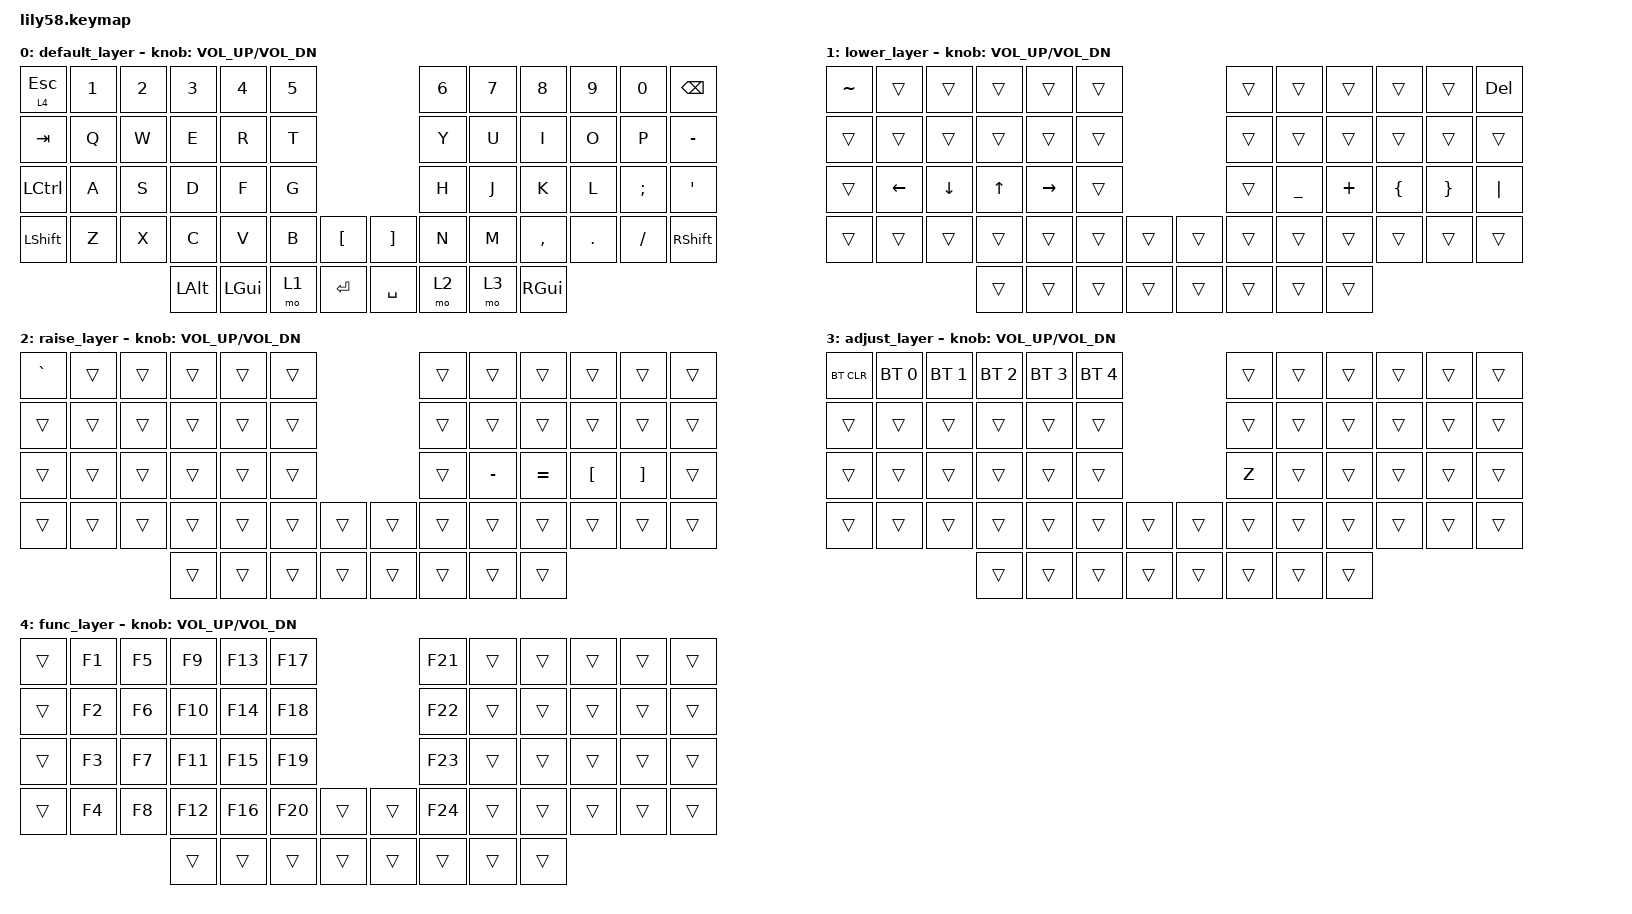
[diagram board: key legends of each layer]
/*
 * Copyright (c) 2020 The ZMK Contributors
 *
 * SPDX-License-Identifier: MIT
 */

#include <behaviors.dtsi>
#include <dt-bindings/zmk/keys.h>
#include <dt-bindings/zmk/bt.h>
#include <dt-bindings/zmk/ext_power.h>


/ {
	keymap {
		compatible = "zmk,keymap";

		default_layer {
// ------------------------------------------------------------------------------------------------------------
// |  ESC  |  1  |  2  |  3   |  4   |  5   |                   |  6   |  7    |  8    |  9   |   0   |  BSPC |
// |  TAB  |  Q  |  W  |  E   |  R   |  T   |                   |  Y   |  U    |  I    |  O   |   P   |   -   |
// |  CTRL |  A  |  S  |  D   |  F   |  G   |                   |  H   |  J    |  K    |  L   |   ;   |   '   |
// | SHIFT |  Z  |  X  |  C   |  V   |  B   |   "["  |  |  "]"  |  N   |  M    |  ,    |  .   |   /   | SHIFT |
//                     | ALT  | GUI  | LOWER|  SPACE |  | ENTER | RAISE|  ADJ  | GUI   |
			bindings = <
&lt 4 ESC &kp N1 &kp N2 &kp N3   &kp N4   &kp N5                     &kp N6 &kp N7   &kp N8    &kp N9  &kp N0   &kp BSPC
&kp TAB   &kp Q  &kp W  &kp E    &kp R    &kp T                      &kp Y  &kp U    &kp I     &kp O   &kp P    &kp MINUS
&kp LCTRL &kp A  &kp S  &kp D    &kp F    &kp G                      &kp H  &kp J    &kp K     &kp L   &kp SEMI &kp SQT
&kp LSHFT &kp Z  &kp X  &kp C    &kp V    &kp B  &kp LBKT   &kp RBKT &kp N  &kp M    &kp COMMA &kp DOT &kp FSLH &kp RSHFT
                        &kp LALT &kp LGUI &mo 1  &kp RET  &kp SPACE  &mo 2  &mo 3    &kp RGUI
			>;

			sensor-bindings = <&inc_dec_kp C_VOL_UP C_VOL_DN>;
		};

		lower_layer {
// ------------------------------------------------------------------------------------------------------------
// | BTCLR | BT1 | BT2 |  BT3 |  BT4 |  BT5 |                   |      |       |       |      |       |       |
// |  F1   |  F2 |  F3 |  F4  |  F5  |  F6  |                   |  F7  |  F8   |  F9   |  F10 |  F11  |  F12  |
// |   `   |  !  |  @  |  #   |  $   |  %   |                   |  ^   |  &    |  *    |  (   |   )   |   ~   |
// |       |     |     |      |      |      |        |  |       |      |  _    |  +    |  {   |   }   |  "|"  |
//                     |      |      |      |        |  |       |      |       |       |
			bindings = <
&kp TILDE &trans   &trans   &trans  &trans  &trans                       &trans      &trans    &trans    &trans   &trans    &kp DEL	
&trans    &trans   &trans   &trans  &trans  &trans                       &trans      &trans    &trans    &trans   &trans    &trans
&trans    &kp LEFT &kp DOWN &kp UP  &kp RIGHT  &trans                    &trans      &kp UNDER &kp PLUS  &kp LBRC &kp RBRC  &kp PIPE 
&trans    &trans   &trans   &trans  &trans  &trans    &trans    &trans   &trans      &trans    &trans    &trans   &trans    &trans
                        &trans  &trans  &trans    &trans    &trans   &trans    &trans      &trans   
			>;

			sensor-bindings = <&inc_dec_kp C_VOL_UP C_VOL_DN>;
		};

		raise_layer {
// ------------------------------------------------------------------------------------------------------------
// |       |     |     |      |      |      |                   |      |       |       |      |       |       |
// |   `   |  1  |  2  |  3   |  4   |  5   |                   |  6   |   7   |   8   |  9   |   0   |       |
// |   F1  |  F2 |  F3 |  F4  |  F5  |  F6  |                   |      |   <-  |   ^   |  v   |  ->   |       |
// |   F7  |  F8 |  F9 |  F10 |  F11 |  F12 |        |  |       |  +   |   -   |   =   |  [   |   ]   |   \   |
//                     |      |      |      |        |  |       |      |       |       |
			bindings = <
&kp GRAVE &trans &trans &trans  &trans  &trans                       &trans      &trans    &trans    &trans   &trans    &trans
&trans    &trans &trans &trans  &trans  &trans                       &trans      &trans    &trans    &trans   &trans    &trans
&trans    &trans &trans &trans  &trans  &trans                       &trans      &kp MINUS &kp EQUAL &kp LBKT &kp RBKT  &trans
&trans    &trans &trans &trans  &trans  &trans    &trans    &trans   &trans      &trans    &trans    &trans   &trans    &trans
                        &trans  &trans  &trans    &trans    &trans   &trans    &trans      &trans 
			>;

			sensor-bindings = <&inc_dec_kp C_VOL_UP C_VOL_DN>;
		};
		
		adjust_layer {
// ------------------------------------------------------------------------------------------------------------
// |       |     |     |      |      |      |                   |      |       |       |      |       |       |
// |   `   |  1  |  2  |  3   |  4   |  5   |                   |  6   |   7   |   8   |  9   |   0   |       |
// |   F1  |  F2 |  F3 |  F4  |  F5  |  F6  |                   |      |   <-  |   ^   |  v   |  ->   |       |
// |   F7  |  F8 |  F9 |  F10 |  F11 |  F12 |        |  |       |  +   |   -   |   =   |  [   |   ]   |   \   |
//                     |      |      |      |        |  |       |      |       |       |
			bindings = <
&bt BT_CLR &bt BT_SEL 0 &bt BT_SEL 1 &bt BT_SEL 2 &bt BT_SEL 3 &bt BT_SEL 4  &trans      &trans    &trans    &trans   &trans    &trans
&trans    &trans &trans &trans  &trans  &trans                       &trans      &trans    &trans    &trans   &trans    &trans
&trans    &trans &trans &trans  &trans  &trans                       &kp Z      &trans    &trans    &trans   &trans    &trans
&trans    &trans &trans &trans  &trans  &trans    &trans    &trans   &trans      &trans    &trans    &trans   &trans    &trans
                        &trans  &trans  &trans    &trans    &trans   &trans    &trans      &trans
			>;

			sensor-bindings = <&inc_dec_kp C_VOL_UP C_VOL_DN>;
		};
		
		func_layer {
// ------------------------------------------------------------------------------------------------------------
// |       |     |     |      |      |      |                   |      |       |       |      |       |       |
// |   `   |  1  |  2  |  3   |  4   |  5   |                   |  6   |   7   |   8   |  9   |   0   |       |
// |   F1  |  F2 |  F3 |  F4  |  F5  |  F6  |                   |      |   <-  |   ^   |  v   |  ->   |       |
// |   F7  |  F8 |  F9 |  F10 |  F11 |  F12 |        |  |       |  +   |   -   |   =   |  [   |   ]   |   \   |
//                     |      |      |      |        |  |       |      |       |       |
			bindings = <
&trans    &kp F1 &kp F5 &kp F9  &kp F13  &kp F17                     &kp F21   &trans    &trans    &trans   &trans    &trans
&trans    &kp F2 &kp F6 &kp F10 &kp F14  &kp F18                     &kp F22   &trans    &trans    &trans   &trans    &trans
&trans    &kp F3 &kp F7 &kp F11 &kp F15  &kp F19                     &kp F23   &trans    &trans    &trans   &trans    &trans
&trans    &kp F4 &kp F8 &kp F12 &kp F16  &kp F20  &trans    &trans   &kp F24   &trans    &trans    &trans   &trans    &trans
                        &trans  &trans   &trans   &trans    &trans   &trans    &trans      &trans 
			>;

			sensor-bindings = <&inc_dec_kp C_VOL_UP C_VOL_DN>;
		};
	};
};
